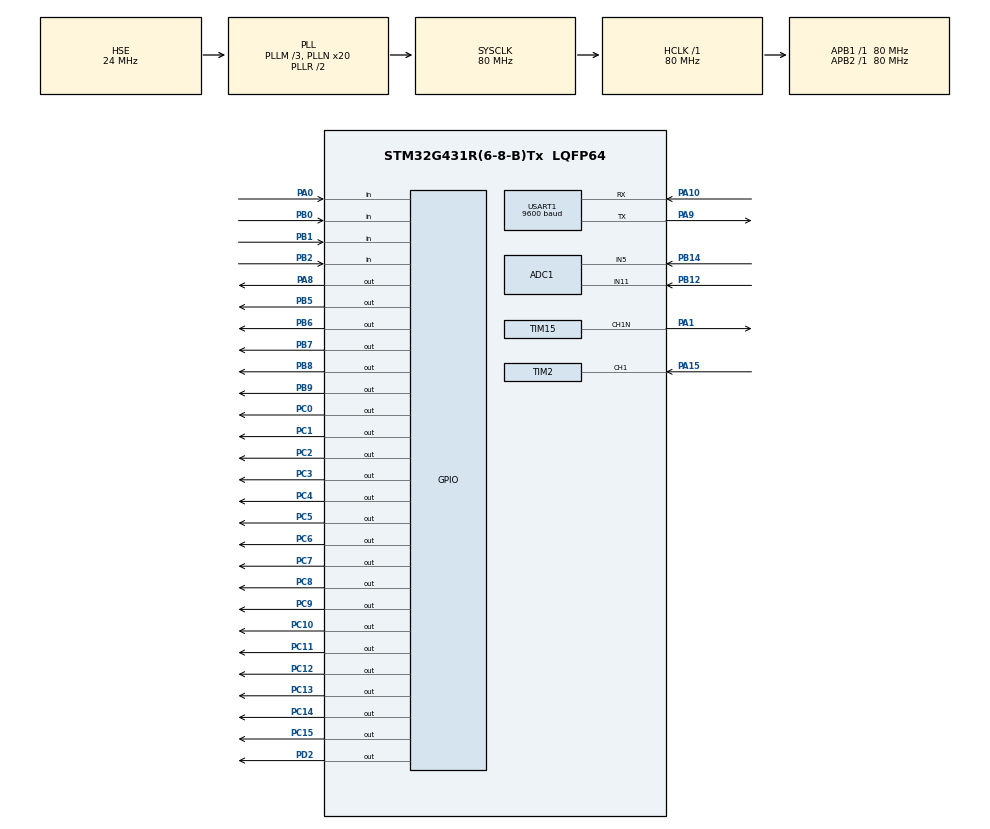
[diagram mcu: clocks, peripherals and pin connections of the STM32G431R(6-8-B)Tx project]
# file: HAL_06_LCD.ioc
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ADC1.Channel-0\#ChannelRegularConversion=ADC_CHANNEL_5
ADC1.Channel-1\#ChannelRegularConversion=ADC_CHANNEL_11
ADC1.NbrOfConversion=2
ADC1.NbrOfConversionFlag=1
ADC1.OffsetNumber-0\#ChannelRegularConversion=ADC_OFFSET_NONE
ADC1.OffsetNumber-1\#ChannelRegularConversion=ADC_OFFSET_NONE
ADC1.Rank-0\#ChannelRegularConversion=1
ADC1.Rank-1\#ChannelRegularConversion=2
ADC1.SamplingTime-0\#ChannelRegularConversion=ADC_SAMPLETIME_6CYCLES_5
ADC1.SamplingTime-1\#ChannelRegularConversion=ADC_SAMPLETIME_247CYCLES_5
ADC1.master=1
Mcu.Family=STM32G4
Mcu.Name=STM32G431R(6-8-B)Tx
Mcu.Package=LQFP64
NVIC.PriorityGroup=NVIC_PRIORITYGROUP_4
NVIC.TIM2_IRQn=true\:0\:0\:false\:false\:true\:true\:true
NVIC.USART1_IRQn=true\:0\:0\:false\:false\:true\:true\:true
PA0.Signal=GPIO_Input
PA1.Mode=PWM Generation1 CH1N
PA1.Signal=TIM15_CH1N
PA10.Mode=Asynchronous
PA10.Signal=USART1_RX
PA13.Mode=Serial_Wire
PA13.Signal=SYS_JTMS-SWDIO
PA14.Mode=Serial_Wire
PA14.Signal=SYS_JTCK-SWCLK
PA15.Signal=S_TIM2_CH1
PA8.Signal=GPIO_Output
PA9.Mode=Asynchronous
PA9.Signal=USART1_TX
PB0.Signal=GPIO_Input
PB1.Signal=GPIO_Input
PB12.Mode=IN11-Single-Ended
PB12.Signal=ADC1_IN11
PB14.Mode=IN5-Single-Ended
PB14.Signal=ADC1_IN5
PB2.Signal=GPIO_Input
PB5.Signal=GPIO_Output
PB6.GPIO_ModeDefaultOutputPP=GPIO_MODE_OUTPUT_OD
PB6.Signal=GPIO_Output
PB7.GPIO_ModeDefaultOutputPP=GPIO_MODE_OUTPUT_OD
PB7.Signal=GPIO_Output
PB8-BOOT0.Signal=GPIO_Output
PB9.Signal=GPIO_Output
PC0.Signal=GPIO_Output
PC1.Signal=GPIO_Output
PC10.Signal=GPIO_Output
PC11.Signal=GPIO_Output
PC12.Signal=GPIO_Output
PC13.Signal=GPIO_Output
PC14-OSC32_IN.Signal=GPIO_Output
PC15-OSC32_OUT.Signal=GPIO_Output
PC2.Signal=GPIO_Output
PC3.Signal=GPIO_Output
PC4.Signal=GPIO_Output
PC5.Signal=GPIO_Output
PC6.Signal=GPIO_Output
PC7.Signal=GPIO_Output
PC8.Signal=GPIO_Output
PC9.Signal=GPIO_Output
PD2.Signal=GPIO_Output
PF0-OSC_IN.Mode=HSE-External-Oscillator
PF0-OSC_IN.Signal=RCC_OSC_IN
PF1-OSC_OUT.Mode=HSE-External-Oscillator
PF1-OSC_OUT.Signal=RCC_OSC_OUT
ProjectManager.HeapSize=0x200
ProjectManager.StackSize=0x400
ProjectManager.TargetToolchain=MDK-ARM V5.27
RCC.ADC12Freq_Value=80000000
RCC.AHBFreq_Value=80000000
RCC.APB1Freq_Value=80000000
RCC.APB1TimFreq_Value=80000000
RCC.APB2Freq_Value=80000000
RCC.APB2TimFreq_Value=80000000
RCC.CortexFreq_Value=80000000
RCC.EXTERNAL_CLOCK_VALUE=12288000
RCC.HCLKFreq_Value=80000000
RCC.HSE_VALUE=24000000
RCC.HSI48_VALUE=48000000
RCC.HSI_VALUE=16000000
RCC.LSE_VALUE=32768
RCC.PLLM=RCC_PLLM_DIV3
RCC.PLLN=20
RCC.PLLSourceVirtual=RCC_PLLSOURCE_HSE
RCC.SYSCLKFreq_VALUE=80000000
RCC.SYSCLKSource=RCC_SYSCLKSOURCE_PLLCLK
RCC.USBFreq_Value=80000000
RCC.VCOOutputFreq_Value=160000000
SH.S_TIM2_CH1.0=TIM2_CH1,Input_Capture1_from_TI1
SH.S_TIM2_CH1.1=TIM2_CH1,Input_Capture2_from_TI1
SH.S_TIM2_CH1.2=TIM2_CH1,TriggerSource_TI1FP1
TIM15.Channel-PWM\ Generation1\ CH1N=TIM_CHANNEL_1
TIM15.PeriodNoDither=999
TIM15.Prescaler=79
TIM15.PulseNoDither_1=500
TIM2.Channel-Input_Capture1_from_TI1=TIM_CHANNEL_1
TIM2.Channel-Input_Capture2_from_TI1=TIM_CHANNEL_2
TIM2.ICPolarity_CH2=TIM_INPUTCHANNELPOLARITY_FALLING
TIM2.PeriodNoDither=0xffffffff
TIM2.Prescaler=79
USART1.BaudRate=9600
USART1.VirtualMode-Asynchronous=VM_ASYNC
VP_SYS_VS_DBSignals.Mode=DisableDeadBatterySignals
VP_TIM2_VS_ControllerModeReset.Mode=Reset Mode
board=custom

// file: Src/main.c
/* USER CODE BEGIN Header */
/**
  ******************************************************************************
  * @file           : main.c
  * @brief          : Main program body
  ******************************************************************************
  * @attention
  *
  * <h2><center>&copy; Copyright (c) 2021 STMicroelectronics.
  * All rights reserved.</center></h2>
  *
  * This software component is licensed by ST under BSD 3-Clause license,
  * the "License"; You may not use this file except in compliance with the
  * License. You may obtain a copy of the License at:
  *                        opensource.org/licenses/BSD-3-Clause
  *
  ******************************************************************************
  */
/* USER CODE END Header */

#include "main.h"
#include "adc.h"
#include "tim.h"
#include "usart.h"
#include "gpio.h"

/* USER CODE BEGIN Includes */
#include "i2c.h"
/* USER CODE END Includes */

/* USER CODE BEGIN PV */
vu32 uwTickms=0,uw100ms=0,uwOnes=0;
u8 ucLed=0;

u8 pucPsd[3]={'1','2','3'};
u8 pucPsd_Edit[3]={'@','@','@'};
u8 pucPsd_Temp[3];
u8 ucState=0;

vu32 Capture = 0;
vu32  Duty=0;

u8  ucPsdErr3Times=0;
u32 uwLD2_StartTime;

u8 pucCmd[8]={0};

u16 pusADC1[2];
/* USER CODE END PV */

void SystemClock_Config(void);
/* USER CODE BEGIN PFP */
void Lcd_Proc(void);
void Led_Proc(void);
u8 Key_Proc(void);
void Ztj_Proc(void);
void ADC1_Proc(void);
u8 IsNum(u8 InChar);
/* USER CODE END PFP */

int main(void)
{

  /* MCU Configuration--------------------------------------------------------*/

  /* Reset of all peripherals, Initializes the Flash interface and the Systick. */
  HAL_Init();

  /* Configure the system clock */
  SystemClock_Config();

  /* Initialize all configured peripherals */
  MX_GPIO_Init();
  MX_TIM15_Init();
  MX_USART1_UART_Init();
  MX_ADC1_Init();
  MX_TIM2_Init();
  /* USER CODE BEGIN 2 */

	LCD_Init();
  /* USER CODE END 2 */

  /* Infinite loop */
  /* USER CODE BEGIN WHILE */

	LCD_Clear(Black);
	LCD_SetBackColor(Black);
	LCD_SetTextColor(White);

	HAL_TIMEx_PWMN_Start(&htim15,TIM_CHANNEL_1);
	HAL_TIM_IC_Start_IT(&htim2,TIM_CHANNEL_1);
	HAL_TIM_IC_Start(&htim2,TIM_CHANNEL_2);

	MEM_Read(0,pucPsd_Temp,3);
	if(IsNum(pucPsd_Temp[0]) && IsNum(pucPsd_Temp[1]) && IsNum(pucPsd_Temp[2]) )
	{
		pucPsd[0]=pucPsd_Temp[0];
		pucPsd[1]=pucPsd_Temp[1];
		pucPsd[2]=pucPsd_Temp[2];
	}
	HAL_ADCEx_Calibration_Start(&hadc1,ADC_SINGLE_ENDED);
	HAL_UART_Receive_IT(&huart1,pucCmd,7);
  while (1)
  {
    Ztj_Proc();
		Lcd_Proc();
		Led_Proc();
		ADC1_Proc();
    /* USER CODE END WHILE */

  }
}

void SystemClock_Config(void)
{
  RCC_OscInitTypeDef RCC_OscInitStruct = {0};
  RCC_ClkInitTypeDef RCC_ClkInitStruct = {0};
  RCC_PeriphCLKInitTypeDef PeriphClkInit = {0};

  /** Configure the main internal regulator output voltage
  */
  HAL_PWREx_ControlVoltageScaling(PWR_REGULATOR_VOLTAGE_SCALE1);
  /** Initializes the CPU, AHB and APB busses clocks
  */
  RCC_OscInitStruct.OscillatorType = RCC_OSCILLATORTYPE_HSE;
  RCC_OscInitStruct.HSEState = RCC_HSE_ON;
  RCC_OscInitStruct.PLL.PLLState = RCC_PLL_ON;
  RCC_OscInitStruct.PLL.PLLSource = RCC_PLLSOURCE_HSE;
  RCC_OscInitStruct.PLL.PLLM = RCC_PLLM_DIV3;
  RCC_OscInitStruct.PLL.PLLN = 20;
  RCC_OscInitStruct.PLL.PLLP = RCC_PLLP_DIV2;
  RCC_OscInitStruct.PLL.PLLQ = RCC_PLLQ_DIV2;
  RCC_OscInitStruct.PLL.PLLR = RCC_PLLR_DIV2;
  if (HAL_RCC_OscConfig(&RCC_OscInitStruct) != HAL_OK)
  {
    Error_Handler();
  }
  /** Initializes the CPU, AHB and APB busses clocks
  */
  RCC_ClkInitStruct.ClockType = RCC_CLOCKTYPE_HCLK|RCC_CLOCKTYPE_SYSCLK
                              |RCC_CLOCKTYPE_PCLK1|RCC_CLOCKTYPE_PCLK2;
  RCC_ClkInitStruct.SYSCLKSource = RCC_SYSCLKSOURCE_PLLCLK;
  RCC_ClkInitStruct.AHBCLKDivider = RCC_SYSCLK_DIV1;
  RCC_ClkInitStruct.APB1CLKDivider = RCC_HCLK_DIV1;
  RCC_ClkInitStruct.APB2CLKDivider = RCC_HCLK_DIV1;

  if (HAL_RCC_ClockConfig(&RCC_ClkInitStruct, FLASH_LATENCY_3) != HAL_OK)
  {
    Error_Handler();
  }
  /** Initializes the peripherals clocks
  */
  PeriphClkInit.PeriphClockSelection = RCC_PERIPHCLK_USART1|RCC_PERIPHCLK_ADC12;
  PeriphClkInit.Usart1ClockSelection = RCC_USART1CLKSOURCE_PCLK2;
  PeriphClkInit.Adc12ClockSelection = RCC_ADC12CLKSOURCE_SYSCLK;
  if (HAL_RCCEx_PeriphCLKConfig(&PeriphClkInit) != HAL_OK)
  {
    Error_Handler();
  }
}

/* USER CODE BEGIN 4 */
void Lcd_Proc(void)
{
	u8 pucDisp[25]={0};
	if(!ucState)
	{
		//LCD_Clear(Blue);
		LCD_DisplayStringLine(Line1,(unsigned char *)"        PSD        ");

		sprintf(pucDisp,"  B1:%c",pucPsd_Edit[0]);
		LCD_DisplayStringLine(Line3,(unsigned char *)pucDisp);

		sprintf(pucDisp,"  B2:%c",pucPsd_Edit[1]);
		LCD_DisplayStringLine(Line4,(unsigned char *)pucDisp);

		sprintf(pucDisp,"  B3:%c",pucPsd_Edit[2]);
		LCD_DisplayStringLine(Line5,(unsigned char *)pucDisp);

	}
	else
	{
		//LCD_Clear(Blue);
		LCD_DisplayStringLine(Line1,(unsigned char *)"       STA        ");

		sprintf(pucDisp,"  F:%4dHZ",2000);
		LCD_DisplayStringLine(Line3,(unsigned char *)pucDisp);

		sprintf(pucDisp,"  D:%2d%%",10);
		LCD_DisplayStringLine(Line4,(unsigned char *)pucDisp);

	}
	sprintf(pucDisp,"MCP:%4.1f%,R38:%4.1f%",pusADC1[0]*3.3/4095,pusADC1[1]*3.3/4095);
	LCD_DisplayStringLine(Line0,(unsigned char *)pucDisp);
	if(Capture)
	{
		sprintf(pucDisp,"  Freq:%4.2fHz",1000000.0/(Capture) );
		//sprintf(pucDisp,"  Freq:%dHz",1000000/(Capture) );
		LCD_DisplayStringLine(Line6,(unsigned char *)pucDisp);
		sprintf(pucDisp,"  Duty:%2d%%",Duty*100/Capture );
		LCD_DisplayStringLine(Line7,(unsigned char *)pucDisp);
	}
	else
	{
		sprintf(pucDisp,"  Freq:%dHz",0);
		LCD_DisplayStringLine(Line6,(unsigned char *)pucDisp);
		sprintf(pucDisp,"  Duty:%2d%%",0 );
		LCD_DisplayStringLine(Line7,(unsigned char *)pucDisp);
	}
	sprintf(pucDisp,"  Duty1:%d",Duty );
	LCD_DisplayStringLine(Line8,(unsigned char *)pucDisp);
	sprintf(pucDisp,"  Capt1:%d",Capture );
	LCD_DisplayStringLine(Line9,(unsigned char *)pucDisp);
}
void Led_Proc(void)
{
	u8 i=0;
	static u32 uwLedTime=0;
	if(ucPsdErr3Times==1 && (uwTickms-uwLD2_StartTime)<=5000)
	{
		if(uwLedTime!=uw100ms)
		{
			uwLedTime=uw100ms;
			ucLed ^=1<<1;
		}
	}
	else
	{
		ucPsdErr3Times=0;
		ucLed &=~(1<<1);
	}
	LED_Disp(ucLed);
}
void Ztj_Proc(void)
{
	u8 ucPsdOK=0;
	static u32 uwLD1_StartTime;
	if(!ucState)
	{
		ucPsdOK=Key_Proc();
		if(ucPsdOK==1)
		{
			uwLD1_StartTime=uwTickms;
			ucState=1;
			LCD_Clear(Black);
			ucLed |=(1<<0);

			//Led_Out(ucLed);
			htim15.Instance->ARR=499;  ;
			htim15.Instance->CCR1=50;
		}
	}
	else
	{
		if(uwTickms-uwLD1_StartTime>=5000)
		{
			ucState =0;
			LCD_Clear(Black);
			ucLed &=~(1<<0);

			//Led_Out(ucLed);
			htim15.Instance->ARR=999;  ;
			htim15.Instance->CCR1=500;
		}
	}
}
void ADC1_Proc(void)
{
	HAL_ADC_Start(&hadc1);
	if(HAL_ADC_PollForConversion(&hadc1,10)==HAL_OK)
		pusADC1[0]= HAL_ADC_GetValue(&hadc1);
	if(HAL_ADC_PollForConversion(&hadc1,10)==HAL_OK)
		pusADC1[1]= HAL_ADC_GetValue(&hadc1);
}
u8 Key_Proc(void)
{
	u8 ucKey_Val;
	static u8 ucKey_Old=0;
	static u32 ulKey_Time=0;
	static u16 uiErrNum=0;
	//static u8 ucOnce=0;
	ucKey_Val=KEY_Read();

	if(ucKey_Val !=ucKey_Old)
	{
		ucKey_Old=ucKey_Val;
		ulKey_Time=uwTickms;
		//ucOnce=0;
		switch(ucKey_Val)
		{
			case 1:
				if(pucPsd_Edit[0]=='@')
				{
					pucPsd_Edit[0]='0';
				}
				else
				{
					pucPsd_Edit[0]=0x30+((pucPsd_Edit[0]-0x30)+1) % 10;
				}
				break;
			case 2:
				if(pucPsd_Edit[1]=='@')
				{
					pucPsd_Edit[1]='0';
				}
				else
				{
					//pucPsd_Edit[1]=0x30+((pucPsd_Edit[1]-0x30)+1) % 10;
					pucPsd_Edit[1]++;
					if(pucPsd_Edit[1]==0x3A) pucPsd_Edit[1]='0';
				}
				break;
			case 3:
				if(pucPsd_Edit[2]=='@')
				{
					pucPsd_Edit[2]='0';
				}
				else
				{
					pucPsd_Edit[2]=0x30+((pucPsd_Edit[2]-0x30)+1) % 10;
				}
				break;
			case 4:
				if(pucPsd[0]==pucPsd_Edit[0] && pucPsd[1]==pucPsd_Edit[1] && pucPsd[2]==pucPsd_Edit[2])
				{
					uiErrNum=0;
					pucPsd_Edit[0]='@';
					pucPsd_Edit[1]='@';
					pucPsd_Edit[2]='@';
					return 1;
				}
				else
				{
					uiErrNum++;
					pucPsd_Edit[0]='@';
					pucPsd_Edit[1]='@';
					pucPsd_Edit[2]='@';
					if(uiErrNum>=3)
					{
						ucPsdErr3Times=1;
						uwLD2_StartTime=uwTickms;
					}

				}
				break;
		}
	}
	if(uwTickms-ulKey_Time>=800)
	{
		switch(ucKey_Old)
		{
			case 1:

				break;
			case 2:

				break;
			case 3:

				break;
			case 4:

				break;
		}
	}
	return 0;

}
u8 IsNum(u8 InChar)
{
	if(InChar >=0x30 && InChar <=0x39)
		return 1;
	else
		return 0;
}
void HAL_UART_RxCpltCallback(UART_HandleTypeDef *huart)
{
	if(IsNum(pucCmd[0]) && IsNum(pucCmd[1]) && IsNum(pucCmd[2]) && pucCmd[3]=='-' && IsNum(pucCmd[4]) && IsNum(pucCmd[5]) && IsNum(pucCmd[6]) )
	{
		if(pucCmd[0]==pucPsd[0] && pucCmd[1]==pucPsd[1] && pucCmd[2]==pucPsd[2])
		{
			pucPsd[0]=pucCmd[4];
			pucPsd[1]=pucCmd[5];
			pucPsd[2]=pucCmd[6];
			HAL_UART_Transmit_IT(&huart1,"OK",2);
			MEM_Write(0,pucPsd,3);
			MCP_Write((pucPsd[2]-'0')*10);   //3 bei
		}
		else
			HAL_UART_Transmit_IT(&huart1,"err2",4);	;	//debug
	}
	else
	{
			HAL_UART_Transmit_IT(&huart1,"err1",4);		//debug
	}
	HAL_UART_Receive_IT(&huart1,pucCmd,7);
}
void HAL_TIM_IC_CaptureCallback(TIM_HandleTypeDef *htim)
{
	if(htim->Instance ==TIM2)
	{
		if(htim->Channel==HAL_TIM_ACTIVE_CHANNEL_1)
		{
			Capture=HAL_TIM_ReadCapturedValue(htim,TIM_CHANNEL_1)+1;
			Duty=HAL_TIM_ReadCapturedValue(htim,TIM_CHANNEL_2)+1;

		}
	}
}
/* USER CODE END 4 */

void Error_Handler(void)
{
}

/************************ (C) COPYRIGHT STMicroelectronics *****END OF FILE****/
